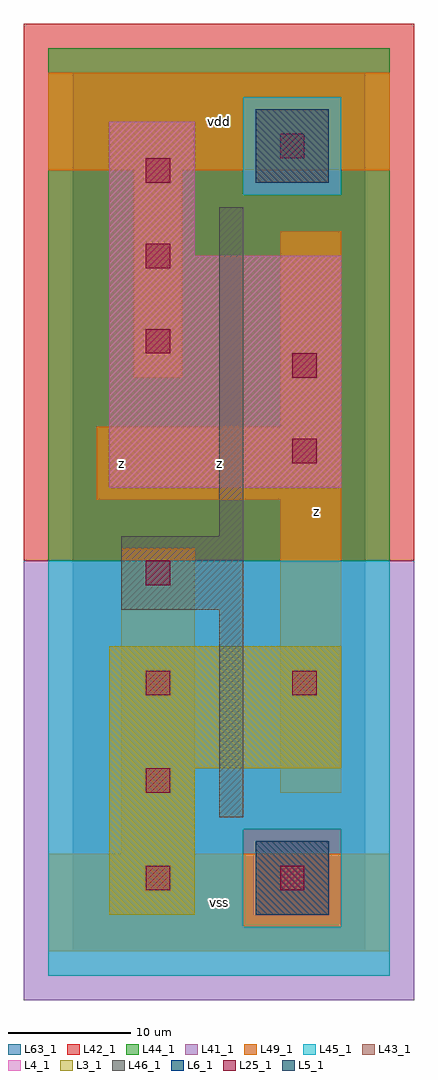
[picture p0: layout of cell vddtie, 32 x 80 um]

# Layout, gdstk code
import gdstk
lib = gdstk.Library(unit=1e-6, precision=1e-09)
def R(c, l, rs):  # rectangles x0, y0, x1, y1
    for r in rs: c.add(gdstk.rectangle(r[:2], r[2:], *l))
def A(c, l, x, y, w, h, nx, ny, dx, dy):  # array of equal rectangles
    R(c, l, [(x+i*dx, y+j*dy, x+i*dx+w, y+j*dy+h) for i in range(nx) for j in range(ny)])
L3_1 = (3, 1)
L4_1 = (4, 1)
L5_1 = (5, 1)
L6_1 = (6, 1)
L25_1 = (25, 1)
L41_1 = (41, 1)
L42_1 = (42, 1)
L43_1 = (43, 1)
L44_1 = (44, 1)
L45_1 = (45, 1)
L46_1 = (46, 1)
L49_1 = (49, 1)
L63_1 = (63, 1)

vddtie = lib.new_cell('vddtie')
R(vddtie, L3_1, [(3,3,10,15), (3,15,22,25)])
R(vddtie, L4_1, [(3,38,22,57), (3,57,10,68)])
R(vddtie, L5_1, [(15,63,21,69)])
R(vddtie, L6_1, [(15,3,21,9), (15,3,21,9)])
A(vddtie, L25_1, 6, 5, 2, 2, 1, 3, 0, 8)
A(vddtie, L25_1, 6, 49, 2, 2, 1, 3, 0, 7)
R(vddtie, L25_1, [(17,5,19,7), (18,21,20,23), (6,30,8,32), (18,40,20,42), (18,47,20,49), (17,65,19,67)])
R(vddtie, L41_1, [(-4,-4,28,32)])
R(vddtie, L42_1, [(-4,32,28,76)])
R(vddtie, L43_1, [(3,3,10,15), (15,3,21,9), (3,15,22,25), (3,38,22,57), (3,57,10,68), (15,63,21,69)])
R(vddtie, L44_1, [(14,2,22,10), (-2,32,26,62), (-2,62,14,70), (22,62,26,70), (-2,70,26,74)])
R(vddtie, L45_1, [(-2,-2,26,2), (-2,2,14,10), (22,2,26,10), (-2,10,26,32), (14,62,22,70)])
R(vddtie, L46_1, [(12,11,14,28), (4,28,14,34), (12,34,14,61)])
R(vddtie, L49_1, [(-2,0,26,8), (4,8,10,33), (17,13,22,37), (2,37,22,43), (17,43,22,59), (5,47,9,64), (-2,64,26,72)])
R(vddtie, L63_1, [(0,0,24,72)])
vddtie.add(gdstk.Label('z', (4,40), layer=49, texttype=1))
vddtie.add(gdstk.Label('vss', (12,4), layer=49, texttype=1))
vddtie.add(gdstk.Label('z', (12,40), layer=49, texttype=1))
vddtie.add(gdstk.Label('vdd', (12,68), layer=49, texttype=1))
vddtie.add(gdstk.Label('z', (20,36), layer=49, texttype=1))

lib.write_gds('vddtie.gds')
